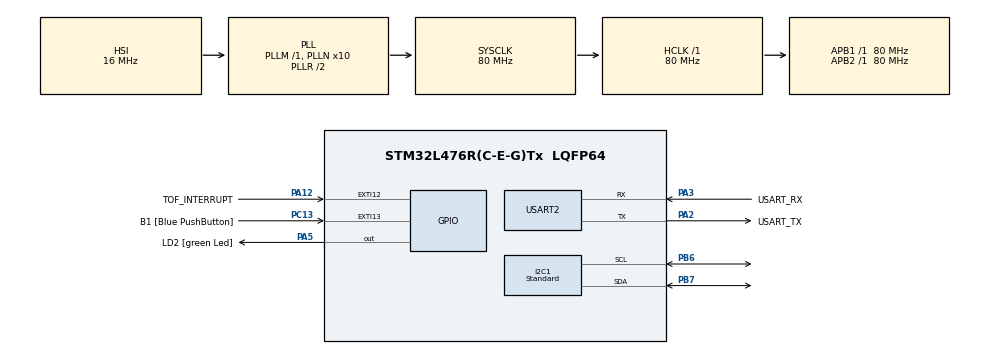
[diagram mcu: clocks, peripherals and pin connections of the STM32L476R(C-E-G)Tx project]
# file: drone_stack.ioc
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I2C1.I2C_Speed_Mode=I2C_Standard
I2C1.Timing=0x10D19CE4
Mcu.Family=STM32L4
Mcu.Name=STM32L476R(C-E-G)Tx
Mcu.Package=LQFP64
NVIC.EXTI15_10_IRQn=true\:0\:0\:false\:false\:true\:true\:true\:true
NVIC.PriorityGroup=NVIC_PRIORITYGROUP_4
PA12.GPIO_Label=TOF_INTERRUPT
PA12.Signal=GPXTI12
PA13\ (JTMS-SWDIO).GPIO_Label=TMS
PA13\ (JTMS-SWDIO).Mode=Serial_Wire
PA13\ (JTMS-SWDIO).Signal=SYS_JTMS-SWDIO
PA14\ (JTCK-SWCLK).GPIO_Label=TCK
PA14\ (JTCK-SWCLK).Mode=Serial_Wire
PA14\ (JTCK-SWCLK).Signal=SYS_JTCK-SWCLK
PA2.GPIO_Label=USART_TX
PA2.GPIO_Mode=GPIO_MODE_AF_PP
PA2.GPIO_PuPd=GPIO_NOPULL
PA2.GPIO_Speed=GPIO_SPEED_FREQ_VERY_HIGH
PA2.Mode=Asynchronous
PA2.Signal=USART2_TX
PA3.GPIO_Label=USART_RX
PA3.GPIO_Mode=GPIO_MODE_AF_PP
PA3.GPIO_PuPd=GPIO_NOPULL
PA3.GPIO_Speed=GPIO_SPEED_FREQ_VERY_HIGH
PA3.Mode=Asynchronous
PA3.Signal=USART2_RX
PA5.GPIO_Label=LD2 [green Led]
PA5.GPIO_ModeDefaultOutputPP=GPIO_MODE_OUTPUT_PP
PA5.GPIO_PuPd=GPIO_NOPULL
PA5.GPIO_Speed=GPIO_SPEED_FREQ_LOW
PA5.Signal=GPIO_Output
PB3\ (JTDO-TRACESWO).GPIO_Label=SWO
PB3\ (JTDO-TRACESWO).Signal=SYS_JTDO-SWO
PB6.Mode=I2C
PB6.Signal=I2C1_SCL
PB7.Mode=I2C
PB7.Signal=I2C1_SDA
PC13.GPIO_Label=B1 [Blue PushButton]
PC13.GPIO_ModeDefaultEXTI=GPIO_MODE_IT_FALLING
PC13.GPIO_PuPd=GPIO_NOPULL
PC13.Signal=GPXTI13
PC14-OSC32_IN\ (PC14).Mode=LSE-External-Oscillator
PC14-OSC32_IN\ (PC14).Signal=RCC_OSC32_IN
PC15-OSC32_OUT\ (PC15).Mode=LSE-External-Oscillator
PC15-OSC32_OUT\ (PC15).Signal=RCC_OSC32_OUT
PH0-OSC_IN\ (PH0).Signal=RCC_OSC_IN
PH1-OSC_OUT\ (PH1).Signal=RCC_OSC_OUT
ProjectManager.HeapSize=0x200
ProjectManager.StackSize=0x400
ProjectManager.TargetToolchain=STM32CubeIDE
RCC.ADCFreq_Value=64000000
RCC.AHBFreq_Value=80000000
RCC.APB1Freq_Value=80000000
RCC.APB1TimFreq_Value=80000000
RCC.APB2Freq_Value=80000000
RCC.APB2TimFreq_Value=80000000
RCC.CortexFreq_Value=80000000
RCC.HCLKFreq_Value=80000000
RCC.HSE_VALUE=8000000
RCC.HSI_VALUE=16000000
RCC.MSI_VALUE=4000000
RCC.PLLN=10
RCC.PLLSourceVirtual=RCC_PLLSOURCE_HSI
RCC.PREFETCH_ENABLE=1
RCC.SYSCLKFreq_VALUE=80000000
RCC.SYSCLKSource=RCC_SYSCLKSOURCE_PLLCLK
RCC.USBFreq_Value=64000000
RCC.VCOOutputFreq_Value=160000000
USART2.VirtualMode-Asynchronous=VM_ASYNC
board=NUCLEO-L476RG

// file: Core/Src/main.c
/* USER CODE BEGIN Header */
/**
  ******************************************************************************
  * @file           : main.c
  * @brief          : Main program body
  ******************************************************************************
  * @attention
  *
  * Copyright (c) 2025 STMicroelectronics.
  * All rights reserved.
  *
  * This software is licensed under terms that can be found in the LICENSE file
  * in the root directory of this software component.
  * If no LICENSE file comes with this software, it is provided AS-IS.
  *
  ******************************************************************************
  */
/* USER CODE END Header */
#include "main.h"

/* USER CODE BEGIN Includes */

#include "VL53L0X.h" // do CTRL+Space for code suggestions
#include "imu.h"
#include "arm_math.h"

/* USER CODE END Includes */

/* USER CODE BEGIN PTD */

typedef struct{
	int x;
	int y;
} Point;

/* USER CODE END PTD */

I2C_HandleTypeDef hi2c1;

UART_HandleTypeDef huart2;

/* USER CODE BEGIN PV */

volatile bool LED_FLAG = false; // this value can be changed by the interrupt callbacks

volatile float32_t angle = 0.5f * PI;

volatile uint8_t button_counter = 0;

HAL_StatusTypeDef status = HAL_OK;

int16_t accels[3];

float32_t result;

/* USER CODE END PV */

void SystemClock_Config(void);
static void MX_GPIO_Init(void);
static void MX_USART2_UART_Init(void);
static void MX_I2C1_Init(void);

/* USER CODE BEGIN 0 */

void HAL_GPIO_EXTI_Callback(uint16_t GPIO_PIN){

	if (GPIO_PIN == B1_Pin){

		HAL_GPIO_TogglePin(LD2_GPIO_Port, LD2_Pin);

		LED_FLAG = ~LED_FLAG;

		angle = PI * (float32_t)button_counter * 0.25f;

		button_counter++;
		return;
	}

}

/* USER CODE END 0 */

int main(void)
{

  /* MCU Configuration--------------------------------------------------------*/

  /* Reset of all peripherals, Initializes the Flash interface and the Systick. */
  HAL_Init();

  /* Configure the system clock */
  SystemClock_Config();

  /* Initialize all configured peripherals */
  MX_GPIO_Init();
  MX_USART2_UART_Init();
  MX_I2C1_Init();
  /* USER CODE BEGIN 2 */

  VL53L0X TOF_sensor;
  IMU imu;
  HAL_GPIO_WritePin(LD2_GPIO_Port, LD2_Pin, 0);

  status = VL53L0X_Init(&TOF_sensor, &hi2c1);

  status = IMU_Init(&imu, &hi2c1);

  if (status == HAL_OK){
	  HAL_GPIO_WritePin(LD2_GPIO_Port, LD2_Pin, 1);
  }
  /* USER CODE END 2 */

  /* Infinite loop */
  /* USER CODE BEGIN WHILE */
  while (1)
  {

	  IMU_GetAccel(&imu, &accels);

	  result = arm_sin_f32(angle);

    /* USER CODE END WHILE */

  }
}

void SystemClock_Config(void)
{
  RCC_OscInitTypeDef RCC_OscInitStruct = {0};
  RCC_ClkInitTypeDef RCC_ClkInitStruct = {0};

  /** Configure the main internal regulator output voltage
  */
  if (HAL_PWREx_ControlVoltageScaling(PWR_REGULATOR_VOLTAGE_SCALE1) != HAL_OK)
  {
    Error_Handler();
  }

  /** Initializes the RCC Oscillators according to the specified parameters
  * in the RCC_OscInitTypeDef structure.
  */
  RCC_OscInitStruct.OscillatorType = RCC_OSCILLATORTYPE_HSI;
  RCC_OscInitStruct.HSIState = RCC_HSI_ON;
  RCC_OscInitStruct.HSICalibrationValue = RCC_HSICALIBRATION_DEFAULT;
  RCC_OscInitStruct.PLL.PLLState = RCC_PLL_ON;
  RCC_OscInitStruct.PLL.PLLSource = RCC_PLLSOURCE_HSI;
  RCC_OscInitStruct.PLL.PLLM = 1;
  RCC_OscInitStruct.PLL.PLLN = 10;
  RCC_OscInitStruct.PLL.PLLP = RCC_PLLP_DIV7;
  RCC_OscInitStruct.PLL.PLLQ = RCC_PLLQ_DIV2;
  RCC_OscInitStruct.PLL.PLLR = RCC_PLLR_DIV2;
  if (HAL_RCC_OscConfig(&RCC_OscInitStruct) != HAL_OK)
  {
    Error_Handler();
  }

  /** Initializes the CPU, AHB and APB buses clocks
  */
  RCC_ClkInitStruct.ClockType = RCC_CLOCKTYPE_HCLK|RCC_CLOCKTYPE_SYSCLK
                              |RCC_CLOCKTYPE_PCLK1|RCC_CLOCKTYPE_PCLK2;
  RCC_ClkInitStruct.SYSCLKSource = RCC_SYSCLKSOURCE_PLLCLK;
  RCC_ClkInitStruct.AHBCLKDivider = RCC_SYSCLK_DIV1;
  RCC_ClkInitStruct.APB1CLKDivider = RCC_HCLK_DIV1;
  RCC_ClkInitStruct.APB2CLKDivider = RCC_HCLK_DIV1;

  if (HAL_RCC_ClockConfig(&RCC_ClkInitStruct, FLASH_LATENCY_4) != HAL_OK)
  {
    Error_Handler();
  }
}

static void MX_I2C1_Init(void)
{

  hi2c1.Instance = I2C1;
  hi2c1.Init.Timing = 0x10D19CE4;
  hi2c1.Init.OwnAddress1 = 0;
  hi2c1.Init.AddressingMode = I2C_ADDRESSINGMODE_7BIT;
  hi2c1.Init.DualAddressMode = I2C_DUALADDRESS_DISABLE;
  hi2c1.Init.OwnAddress2 = 0;
  hi2c1.Init.OwnAddress2Masks = I2C_OA2_NOMASK;
  hi2c1.Init.GeneralCallMode = I2C_GENERALCALL_DISABLE;
  hi2c1.Init.NoStretchMode = I2C_NOSTRETCH_DISABLE;
  if (HAL_I2C_Init(&hi2c1) != HAL_OK)
  {
    Error_Handler();
  }

  /** Configure Analogue filter
  */
  if (HAL_I2CEx_ConfigAnalogFilter(&hi2c1, I2C_ANALOGFILTER_ENABLE) != HAL_OK)
  {
    Error_Handler();
  }

  /** Configure Digital filter
  */
  if (HAL_I2CEx_ConfigDigitalFilter(&hi2c1, 0) != HAL_OK)
  {
    Error_Handler();
  }

}

static void MX_USART2_UART_Init(void)
{

  huart2.Instance = USART2;
  huart2.Init.BaudRate = 115200;
  huart2.Init.WordLength = UART_WORDLENGTH_8B;
  huart2.Init.StopBits = UART_STOPBITS_1;
  huart2.Init.Parity = UART_PARITY_NONE;
  huart2.Init.Mode = UART_MODE_TX_RX;
  huart2.Init.HwFlowCtl = UART_HWCONTROL_NONE;
  huart2.Init.OverSampling = UART_OVERSAMPLING_16;
  huart2.Init.OneBitSampling = UART_ONE_BIT_SAMPLE_DISABLE;
  huart2.AdvancedInit.AdvFeatureInit = UART_ADVFEATURE_NO_INIT;
  if (HAL_UART_Init(&huart2) != HAL_OK)
  {
    Error_Handler();
  }

}

static void MX_GPIO_Init(void)
{
  GPIO_InitTypeDef GPIO_InitStruct = {0};

  /* GPIO Ports Clock Enable */
  __HAL_RCC_GPIOC_CLK_ENABLE();
  __HAL_RCC_GPIOH_CLK_ENABLE();
  __HAL_RCC_GPIOA_CLK_ENABLE();
  __HAL_RCC_GPIOB_CLK_ENABLE();

  /*Configure GPIO pin Output Level */
  HAL_GPIO_WritePin(LD2_GPIO_Port, LD2_Pin, GPIO_PIN_RESET);

  /*Configure GPIO pin : B1_Pin */
  GPIO_InitStruct.Pin = B1_Pin;
  GPIO_InitStruct.Mode = GPIO_MODE_IT_FALLING;
  GPIO_InitStruct.Pull = GPIO_NOPULL;
  HAL_GPIO_Init(B1_GPIO_Port, &GPIO_InitStruct);

  /*Configure GPIO pin : LD2_Pin */
  GPIO_InitStruct.Pin = LD2_Pin;
  GPIO_InitStruct.Mode = GPIO_MODE_OUTPUT_PP;
  GPIO_InitStruct.Pull = GPIO_NOPULL;
  GPIO_InitStruct.Speed = GPIO_SPEED_FREQ_LOW;
  HAL_GPIO_Init(LD2_GPIO_Port, &GPIO_InitStruct);

  /*Configure GPIO pin : TOF_INTERRUPT_Pin */
  GPIO_InitStruct.Pin = TOF_INTERRUPT_Pin;
  GPIO_InitStruct.Mode = GPIO_MODE_IT_RISING;
  GPIO_InitStruct.Pull = GPIO_NOPULL;
  HAL_GPIO_Init(TOF_INTERRUPT_GPIO_Port, &GPIO_InitStruct);

  /* EXTI interrupt init*/
  HAL_NVIC_SetPriority(EXTI15_10_IRQn, 0, 0);
  HAL_NVIC_EnableIRQ(EXTI15_10_IRQn);

}

void Error_Handler(void)
{
  __disable_irq();
  while (1)
  {
  }
}
